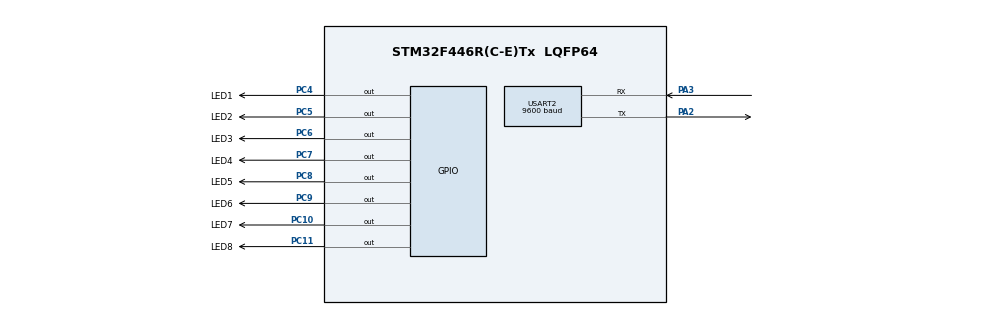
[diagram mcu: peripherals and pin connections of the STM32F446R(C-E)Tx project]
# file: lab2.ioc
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Mcu.Family=STM32F4
Mcu.Name=STM32F446R(C-E)Tx
Mcu.Package=LQFP64
NVIC.PriorityGroup=NVIC_PRIORITYGROUP_4
NVIC.USART2_IRQn=true\:0\:0\:false\:false\:true\:true\:true\:true
PA2.Mode=Asynchronous
PA2.Signal=USART2_TX
PA3.Mode=Asynchronous
PA3.Signal=USART2_RX
PC10.GPIO_Label=LED7
PC10.Signal=GPIO_Output
PC11.GPIO_Label=LED8
PC11.Signal=GPIO_Output
PC4.GPIO_Label=LED1
PC4.Signal=GPIO_Output
PC5.GPIO_Label=LED2
PC5.Signal=GPIO_Output
PC6.GPIO_Label=LED3
PC6.Signal=GPIO_Output
PC7.GPIO_Label=LED4
PC7.Signal=GPIO_Output
PC8.GPIO_Label=LED5
PC8.Signal=GPIO_Output
PC9.GPIO_Label=LED6
PC9.Signal=GPIO_Output
ProjectManager.HeapSize=0x200
ProjectManager.StackSize=0x400
ProjectManager.TargetToolchain=STM32CubeIDE
RCC.CortexFreq_Value=16000000
RCC.USBFreq_Value=96000000
RCC.VCOOutputFreq_Value=192000000
USART2.BaudRate=9600
USART2.VirtualMode=VM_ASYNC
board=custom

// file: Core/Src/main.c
/* USER CODE BEGIN Header */
/**
  ******************************************************************************
  * @file           : main.c
  * @brief          : Main program body
  ******************************************************************************
  * @attention
  *
  * Copyright (c) 2024 STMicroelectronics.
  * All rights reserved.
  *
  * This software is licensed under terms that can be found in the LICENSE file
  * in the root directory of this software component.
  * If no LICENSE file comes with this software, it is provided AS-IS.
  *
  ******************************************************************************
  */
/* USER CODE END Header */
#include "main.h"
#include <string.h>
#include <stdio.h>

/* USER CODE BEGIN PD */
#define UART_BUFFER_SIZE 4
#define LED_COUNT 8
/* USER CODE END PD */

UART_HandleTypeDef huart2;
uint8_t rx_buffer[UART_BUFFER_SIZE];
uint8_t tx_buffer[UART_BUFFER_SIZE + LED_COUNT + 2];
uint8_t tx_busy = 0;
GPIO_TypeDef* LED_PORTS[] = {LED1_GPIO_Port, LED2_GPIO_Port, LED3_GPIO_Port, LED4_GPIO_Port,
                               LED5_GPIO_Port, LED6_GPIO_Port, LED7_GPIO_Port, LED8_GPIO_Port};
uint16_t LED_PINS[] = {LED1_Pin, LED2_Pin, LED3_Pin, LED4_Pin, LED5_Pin, LED6_Pin, LED7_Pin, LED8_Pin};

void SystemClock_Config(void);
static void MX_GPIO_Init(void);
static void MX_USART2_UART_Init(void);

/* USER CODE BEGIN 0 */
void LED_Init(void) {
    for (int i = 0; i < LED_COUNT; i++) {
        HAL_GPIO_WritePin(LED_PORTS[i], LED_PINS[i], GPIO_PIN_RESET);
    }
}
/* USER CODE END 0 */

int main(void)
{

  /* MCU Configuration--------------------------------------------------------*/

  /* Reset of all peripherals, Initializes the Flash interface and the Systick. */
  HAL_Init();

  /* Configure the system clock */
  SystemClock_Config();

  /* Initialize all configured peripherals */
  MX_GPIO_Init();
  MX_USART2_UART_Init();
  /* USER CODE BEGIN 2 */
  LED_Init();
  HAL_UART_Receive_IT(&huart2, rx_buffer, UART_BUFFER_SIZE);
  /* USER CODE END 2 */

  /* Infinite loop */
  while (1)
  {

  }
}

void SystemClock_Config(void)
{
  RCC_OscInitTypeDef RCC_OscInitStruct = {0};
  RCC_ClkInitTypeDef RCC_ClkInitStruct = {0};

  /** Configure the main internal regulator output voltage
  */
  __HAL_RCC_PWR_CLK_ENABLE();
  __HAL_PWR_VOLTAGESCALING_CONFIG(PWR_REGULATOR_VOLTAGE_SCALE3);

  /** Initializes the RCC Oscillators according to the specified parameters
  * in the RCC_OscInitTypeDef structure.
  */
  RCC_OscInitStruct.OscillatorType = RCC_OSCILLATORTYPE_HSI;
  RCC_OscInitStruct.HSIState = RCC_HSI_ON;
  RCC_OscInitStruct.HSICalibrationValue = RCC_HSICALIBRATION_DEFAULT;
  RCC_OscInitStruct.PLL.PLLState = RCC_PLL_NONE;
  if (HAL_RCC_OscConfig(&RCC_OscInitStruct) != HAL_OK)
  {
    Error_Handler();
  }

  /** Initializes the CPU, AHB and APB buses clocks
  */
  RCC_ClkInitStruct.ClockType = RCC_CLOCKTYPE_HCLK|RCC_CLOCKTYPE_SYSCLK
                              |RCC_CLOCKTYPE_PCLK1|RCC_CLOCKTYPE_PCLK2;
  RCC_ClkInitStruct.SYSCLKSource = RCC_SYSCLKSOURCE_HSI;
  RCC_ClkInitStruct.AHBCLKDivider = RCC_SYSCLK_DIV1;
  RCC_ClkInitStruct.APB1CLKDivider = RCC_HCLK_DIV1;
  RCC_ClkInitStruct.APB2CLKDivider = RCC_HCLK_DIV1;

  if (HAL_RCC_ClockConfig(&RCC_ClkInitStruct, FLASH_LATENCY_0) != HAL_OK)
  {
    Error_Handler();
  }
}

static void MX_USART2_UART_Init(void)
{

  huart2.Instance = USART2;
  huart2.Init.BaudRate = 9600;
  huart2.Init.WordLength = UART_WORDLENGTH_8B;
  huart2.Init.StopBits = UART_STOPBITS_1;
  huart2.Init.Parity = UART_PARITY_NONE;
  huart2.Init.Mode = UART_MODE_TX_RX;
  huart2.Init.HwFlowCtl = UART_HWCONTROL_NONE;
  huart2.Init.OverSampling = UART_OVERSAMPLING_16;
  if (HAL_UART_Init(&huart2) != HAL_OK)
  {
    Error_Handler();
  }

}

static void MX_GPIO_Init(void)
{
  GPIO_InitTypeDef GPIO_InitStruct = {0};

  /* GPIO Ports Clock Enable */
  __HAL_RCC_GPIOA_CLK_ENABLE();
  __HAL_RCC_GPIOC_CLK_ENABLE();

  /*Configure GPIO pin Output Level */
  HAL_GPIO_WritePin(GPIOC, LED1_Pin|LED2_Pin|LED3_Pin|LED4_Pin
                          |LED5_Pin|LED6_Pin|LED7_Pin|LED8_Pin, GPIO_PIN_RESET);

  /*Configure GPIO pins : LED1_Pin LED2_Pin LED3_Pin LED4_Pin
                           LED5_Pin LED6_Pin LED7_Pin LED8_Pin */
  GPIO_InitStruct.Pin = LED1_Pin|LED2_Pin|LED3_Pin|LED4_Pin
                          |LED5_Pin|LED6_Pin|LED7_Pin|LED8_Pin;
  GPIO_InitStruct.Mode = GPIO_MODE_OUTPUT_PP;
  GPIO_InitStruct.Pull = GPIO_NOPULL;
  GPIO_InitStruct.Speed = GPIO_SPEED_FREQ_LOW;
  HAL_GPIO_Init(GPIOC, &GPIO_InitStruct);

}

/* USER CODE BEGIN 4 */
void Set_LEDs(uint8_t num_leds) {
    for (int i = 0; i < LED_COUNT; i++) {
        if (i < num_leds) {
            HAL_GPIO_WritePin(LED_PORTS[i], LED_PINS[i], GPIO_PIN_SET);
        } else {
            HAL_GPIO_WritePin(LED_PORTS[i], LED_PINS[i], GPIO_PIN_RESET);
        }
    }
}

void Process_Command(uint8_t *cmd) {
    if (strncmp((char*)cmd, "ping", 4) == 0) {
        strcpy((char*)tx_buffer, "ping\r\n");

    } else if (strncmp((char*)cmd, "alln", 4) == 0) {
        Set_LEDs(LED_COUNT);
        strcpy((char*)tx_buffer, "alln\r\n");

    } else if (strncmp((char*)cmd, "allf", 4) == 0) {
        Set_LEDs(0);
        strcpy((char*)tx_buffer, "allf\r\n");

    } else if (cmd[0] == 'l' && cmd[1] == 'e' && cmd[2] == 'd' && cmd[3] >= '0' && cmd[3] <= '8') {
        uint8_t num_leds = cmd[3] - '0';
        Set_LEDs(num_leds);
        sprintf((char*)tx_buffer, "led%c\r\n", cmd[3]);

    } else if (strncmp((char*)cmd, "stat", 4) == 0) {
        strcpy((char*)tx_buffer, "stat");
        for (int i = 0; i < LED_COUNT; i++) {
			tx_buffer[4 + i] = HAL_GPIO_ReadPin(GPIOC, LED_PINS[i]) ? '1' : '0';
		}
        tx_buffer[4 + LED_COUNT] = '\r';
        tx_buffer[5 + LED_COUNT] = '\n';

    } else {
        strcpy((char*)tx_buffer, "erro\r\n");
    }

    if (!tx_busy) {
            tx_busy = 1;
            HAL_UART_Transmit_IT(&huart2, tx_buffer, strlen((char*)tx_buffer));
    }
}

void HAL_UART_RxCpltCallback(UART_HandleTypeDef *huart) {
    if (huart->Instance == USART2) {
        Process_Command(rx_buffer);
        HAL_UART_Receive_IT(&huart2, rx_buffer, UART_BUFFER_SIZE);
    }
}

void HAL_UART_TxCpltCallback(UART_HandleTypeDef *huart) {
    if (huart->Instance == USART2) {
        tx_busy = 0;
    }
}
/* USER CODE END 4 */

void Error_Handler(void)
{
  __disable_irq();
  while (1)
  {
  }
}
